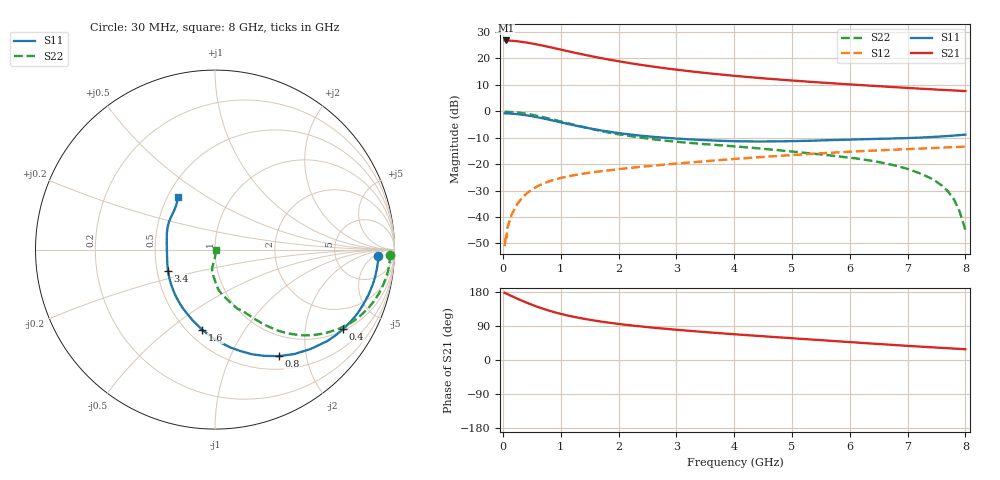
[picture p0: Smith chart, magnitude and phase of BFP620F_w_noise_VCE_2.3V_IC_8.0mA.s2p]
! Infineon Technologies  Discrete & RF Semiconductors
! BFP620F
! VCE =  2.3 V,  IC =  8.0 mA
! Common Emitter S-Parameters:  Dec 2014
# GHz  S  MA  R  50
!  f  S11  S21  S12  S22
! GHz  MAG  ANG  MAG  ANG  MAG  ANG  MAG  ANG
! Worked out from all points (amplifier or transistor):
!   95 points, 30 MHz to 8 GHz, reference 50 ohm
!   highest |S21| = 26.8 dB at 50 MHz (marker M1)
!   |S21| within 3 dB of that: start of sweep to 908.2 MHz
!   unconditionally stable (mu >= 1): 4.202 GHz to end of sweep
!   at 300 MHz: K = 0.19, MSG = 30.0 dB, |S12| = -33.7 dB
!   at 3.3 GHz: K = 0.94, MSG = 17.1 dB, |S12| = -19.3 dB
!   at 8 GHz: K = 1.10, MAG = 8.6 dB, |S12| = -13.4 dB
!   lowest NFmin = 0.56 dB at 450 MHz
!   S11 on the Smith chart (normalised r, x): 30 MHz: 18, -8; 400 MHz: 1.06, -3.18; 800 MHz: 0.68, -1.55; 1.6 GHz: 0.59, -0.67; 3.4 GHz: 0.57, -0.15; 8 GHz: 0.56, +0.38
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0.03  0.9111 -2.3  21.84 177.3  0.0028 62.8  0.975 -1.7
0.05  0.9107 -4.2  21.85 175.9  0.0047 62.3  0.9771 -3.0
0.1  0.9062 -8.1  21.78 172.4  0.0075 74.6  0.973 -5.9
0.2  0.892 -16.3  21.33 165.4  0.0139 76.0  0.9574 -11.9
0.3  0.8699 -24.2  20.74 158.5  0.0207 73.8  0.9325 -17.7
0.4  0.8396 -31.9  20.03 152.0  0.0271 71.9  0.8981 -23.2
0.6  0.7678 -46.2  18.27 140.2  0.0381 66.0  0.8149 -33.0
0.8  0.6916 -59.1  16.42 130.2  0.0472 61.2  0.7261 -41.0
0.9  0.6535 -65.0  15.54 125.8  0.0512 59.1  0.6832 -44.4
1.1  0.5834 -75.8  13.87 118.0  0.0577 56.0  0.6022 -50.1
1.4  0.4996 -90.1  11.77 108.9  0.0661 52.8  0.5003 -56.7
1.6  0.4534 -98.9  10.63 103.7  0.0709 51.5  0.4464 -60.2
1.8  0.4166 -106.8  9.66 99.2  0.0755 50.5  0.4008 -63.5
2.1  0.3745 -118.2  8.465 93.4  0.0824 49.0  0.3547 -69.0
2.7  0.3217 -137.2  6.752 83.9  0.0956 47.2  0.287 -76.1
3.4  0.2871 -155.6  5.454 74.9  0.1112 45.4  0.2431 -82.4
4.1  0.2703 -171.2  4.582 66.9  0.1273 43.2  0.2127 -86.2
5.4  0.2785 164.6  3.555 53.4  0.1578 37.8  0.1564 -92.2
6.7  0.3043 144.0  2.89 40.3  0.186 30.9  0.0986 -98.5
7.6  0.3345 129.7  2.539 32.0  0.205 26.5  0.0388 -89.1
7.8  0.3462 127.2  2.473 30.2  0.2095 25.4  0.0218 -82.6
8  0.3611 125.0  2.411 28.4  0.2139 24.1  0.0057 -25.2
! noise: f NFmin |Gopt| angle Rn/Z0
0.45  0.56  0.34  9  0.24
0.9  0.63  0.3  19  0.21
1.5  0.69  0.28  22  0.17
1.8  0.72  0.26  25  0.16
1.9  0.73  0.21  39  0.18
2.4  0.78  0.19  54  0.16
3.5  0.89  0.18  74  0.13
5.5  1.07  0.13  168  0.11
6  1.11  0.1  192  0.19
